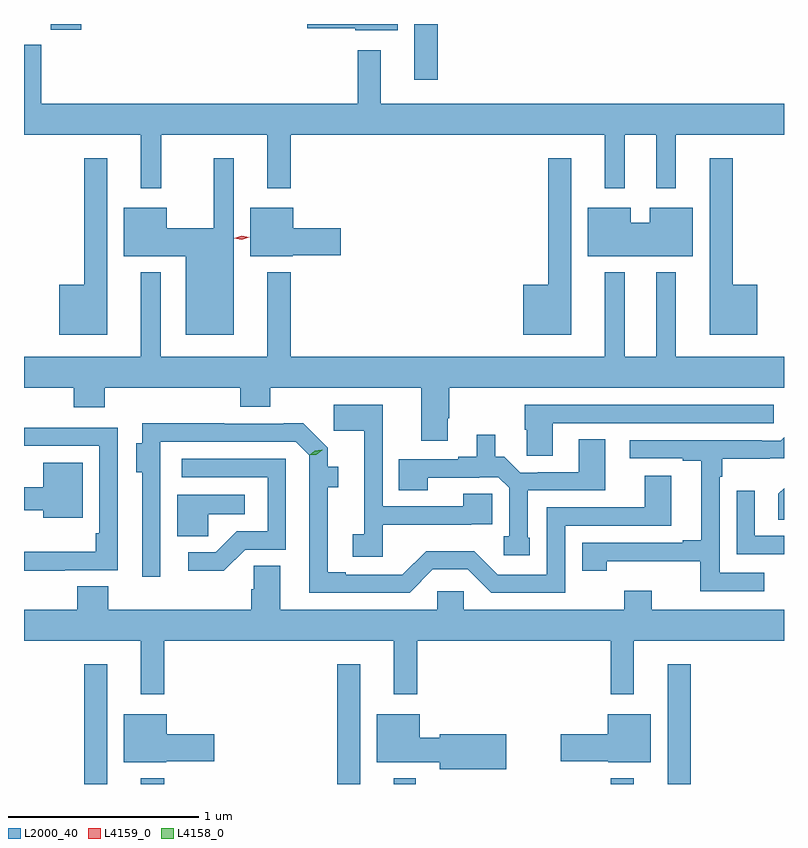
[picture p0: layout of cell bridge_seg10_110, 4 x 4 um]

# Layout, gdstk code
import gdstk
lib = gdstk.Library(unit=1e-6, precision=1e-09)
def R(c, l, rs):  # rectangles x0, y0, x1, y1
    for r in rs: c.add(gdstk.rectangle(r[:2], r[2:], *l))
def P(c, l, *ps):  # polygons
    for p in ps: c.add(gdstk.Polygon(p, *l))
L2000_40 = (2000, 40)
L4158_0 = (4158, 0)
L4159_0 = (4159, 0)

bridge_seg10_110 = lib.new_cell('bridge_seg10_110')
R(bridge_seg10_110, L2000_40, [(445.878,1266.263,445.999,1266.892), (446.177,1266.263,446.299,1266.292), (447.21,1266.263,447.331,1266.892), (447.509,1266.263,447.625,1266.292), (448.65,1266.263,448.771,1266.292), (448.949,1266.263,449.071,1266.892), (447.617,1269.969,447.739,1270.263), (445.702,1270.233,445.862,1270.263)])
P(bridge_seg10_110, L2000_40, [(447.529,1270.263),(447.054,1270.263),(447.054,1270.24),(447.306,1270.24),(447.306,1270.229),(447.529,1270.229)],
  [(446.284,1269.68),(446.843,1269.68),(446.843,1269.399),(446.965,1269.399),(446.965,1269.68),(448.619,1269.68),(448.619,1269.399),(448.723,1269.399),(448.723,1269.68),(448.889,1269.68),(448.889,1269.399),(448.993,1269.399),(448.993,1269.68),(449.562,1269.68),(449.562,1269.844),(447.439,1269.844),(447.439,1270.126),(447.318,1270.126),(447.318,1269.844),(445.654,1269.844),(445.654,1270.153),(445.562,1270.153),(445.562,1269.68),(446.177,1269.68),(446.177,1269.399),(446.284,1269.399)],
  [(449.422,1268.89),(449.293,1268.89),(449.293,1269.556),(449.171,1269.556),(449.171,1268.627),(449.422,1268.627)],
  [(446.665,1269.556),(446.561,1269.556),(446.561,1269.188),(446.314,1269.188),(446.314,1269.295),(446.087,1269.295),(446.087,1269.041),(446.414,1269.041),(446.414,1268.627),(446.665,1268.627)],
  [(445.999,1269.556),(445.878,1269.556),(445.878,1268.89),(445.748,1268.89),(445.748,1268.627),(445.999,1268.627)],
  [(448.441,1269.556),(448.32,1269.556),(448.32,1268.89),(448.19,1268.89),(448.19,1268.627),(448.441,1268.627)],
  [(446.976,1269.047),(447.229,1269.047),(447.229,1269.189),(446.98,1269.189),(446.98,1269.295),(446.753,1269.295),(446.753,1269.041),(446.976,1269.041)],
  [(449.083,1269.295),(448.856,1269.295),(448.856,1269.217),(448.756,1269.217),(448.756,1269.295),(448.529,1269.295),(448.529,1269.041),(449.083,1269.041)],
  [(447.793,1268.188),(447.801,1268.188),(447.801,1268.348),(449.562,1268.348),(449.562,1268.512),(448.993,1268.512),(448.993,1268.956),(448.889,1268.956),(448.889,1268.512),(448.723,1268.512),(448.723,1268.956),(448.619,1268.956),(448.619,1268.512),(446.965,1268.512),(446.965,1268.956),(446.843,1268.956),(446.843,1268.512),(446.281,1268.512),(446.281,1268.956),(446.177,1268.956),(446.177,1268.512),(445.562,1268.512),(445.562,1268.348),(445.823,1268.348),(445.823,1268.246),(445.988,1268.246),(445.988,1268.348),(446.699,1268.348),(446.699,1268.249),(446.859,1268.249),(446.859,1268.348),(447.653,1268.348),(447.653,1268.07),(447.793,1268.07)],
  [(447.45,1267.628),(447.917,1267.628),(447.917,1267.629),(448.027,1267.629),(448.027,1267.79),(447.874,1267.79),(447.874,1267.725),(447.45,1267.725),(447.45,1268.26),(447.192,1268.26),(447.192,1268.121),(447.353,1268.121),(447.353,1267.578),(447.291,1267.578),(447.291,1267.458),(447.45,1267.458)],
  [(448.345,1268.163),(449.509,1268.163),(449.509,1268.259),(448.198,1268.259),(448.198,1268.127),(448.207,1268.127),(448.207,1267.99),(448.345,1267.99)],
  [(447.714,1267.392),(447.897,1267.392),(448.02,1267.269),(448.41,1267.269),(448.41,1267.623),(448.969,1267.623),(448.969,1267.885),(448.829,1267.885),(448.829,1267.719),(448.314,1267.719),(448.314,1267.365),(448.056,1267.365),(447.932,1267.489),(447.678,1267.489),(447.554,1267.365),(447.256,1267.365),(447.256,1267.378),(447.16,1267.378),(447.16,1267.824),(447.217,1267.824),(447.217,1267.934),(447.161,1267.934),(447.161,1268.032),(447.031,1268.162),(446.93,1268.162),(446.93,1268.16),(446.615,1268.16),(446.615,1268.162),(446.184,1268.162),(446.184,1268.056),(446.153,1268.056),(446.153,1267.904),(446.184,1267.904),(446.184,1267.353),(446.28,1267.353),(446.28,1268.064),(446.991,1268.064),(447.063,1267.992),(447.063,1267.269),(447.591,1267.269)],
  [(445.777,1267.389),(446.055,1267.389),(446.055,1268.139),(445.562,1268.139),(445.562,1268.043),(445.959,1268.043),(445.959,1267.582),(445.939,1267.582),(445.939,1267.486),(445.562,1267.486),(445.562,1267.385),(445.777,1267.385)],
  [(448.225,1267.56),(448.212,1267.56),(448.212,1267.809),(448.621,1267.809),(448.621,1268.078),(448.481,1268.078),(448.481,1267.905),(448.267,1267.905),(448.267,1267.902),(448.173,1267.902),(448.089,1267.986),(448.042,1267.986),(448.042,1268.101),(447.944,1268.101),(447.944,1267.986),(447.848,1267.986),(447.848,1267.971),(447.535,1267.971),(447.535,1267.81),(447.687,1267.81),(447.687,1267.875),(447.959,1267.875),(447.959,1267.878),(448.059,1267.878),(448.116,1267.821),(448.116,1267.566),(448.086,1267.566),(448.086,1267.467),(448.225,1267.467)],
  [(449.458,1267.374),(449.223,1267.374),(449.223,1267.88),(449.236,1267.88),(449.236,1267.974),(449.486,1267.974),(449.486,1267.977),(449.562,1267.977),(449.562,1268.088),(449.544,1268.07),(449.444,1268.07),(449.444,1268.073),(448.749,1268.073),(448.749,1267.977),(449.03,1267.977),(449.03,1267.965),(449.126,1267.965),(449.126,1267.546),(449.03,1267.546),(449.03,1267.533),(448.5,1267.533),(448.5,1267.386),(448.628,1267.386),(448.628,1267.436),(449.122,1267.436),(449.122,1267.278),(449.458,1267.278)],
  [(446.727,1267.497),(446.94,1267.497),(446.94,1267.974),(446.391,1267.974),(446.391,1267.878),(446.844,1267.878),(446.844,1267.593),(446.682,1267.593),(446.571,1267.482),(446.427,1267.482),(446.427,1267.385),(446.614,1267.385)],
  [(445.87,1267.954),(445.664,1267.954),(445.664,1267.825),(445.562,1267.825),(445.562,1267.703),(445.664,1267.703),(445.664,1267.664),(445.87,1267.664)],
  [(449.562,1267.82),(449.532,1267.79),(449.532,1267.654),(449.562,1267.654)],
  [(449.562,1267.569),(449.409,1267.569),(449.409,1267.807),(449.313,1267.807),(449.313,1267.473),(449.562,1267.473)],
  [(446.533,1267.682),(446.725,1267.682),(446.725,1267.786),(446.369,1267.786),(446.369,1267.568),(446.533,1267.568)],
  [(446.299,1267.016),(447.509,1267.016),(447.509,1266.735),(447.631,1266.735),(447.631,1267.016),(448.65,1267.016),(448.65,1266.735),(448.771,1266.735),(448.771,1267.016),(449.562,1267.016),(449.562,1267.18),(448.867,1267.18),(448.867,1267.279),(448.72,1267.279),(448.72,1267.18),(447.876,1267.18),(447.876,1267.278),(447.738,1267.278),(447.738,1267.18),(446.911,1267.18),(446.911,1267.412),(446.772,1267.412),(446.772,1267.289),(446.759,1267.289),(446.759,1267.18),(446.006,1267.18),(446.006,1267.304),(445.841,1267.304),(445.841,1267.18),(445.562,1267.18),(445.562,1267.016),(446.177,1267.016),(446.177,1266.735),(446.299,1266.735)],
  [(446.31,1266.383),(446.563,1266.383),(446.563,1266.525),(446.314,1266.525),(446.314,1266.631),(446.087,1266.631),(446.087,1266.377),(446.31,1266.377)],
  [(448.861,1266.631),(448.634,1266.631),(448.634,1266.525),(448.386,1266.525),(448.386,1266.383),(448.638,1266.383),(448.638,1266.377),(448.861,1266.377)],
  [(448.099,1266.524),(447.75,1266.524),(447.75,1266.506),(447.646,1266.506),(447.646,1266.631),(447.419,1266.631),(447.419,1266.377),(447.75,1266.377),(447.75,1266.341),(448.099,1266.341)])
P(bridge_seg10_110, L4158_0, [(447.064,1267.992),(447.064,1267.992),(447.064,1267.992),(447.093,1268.016),(447.13,1268.021),(447.131,1268.021),(447.131,1268.02),(447.101,1267.997)])
P(bridge_seg10_110, L4159_0, [(446.709,1269.128),(446.668,1269.136),(446.668,1269.136),(446.668,1269.136),(446.708,1269.148),(446.748,1269.141),(446.748,1269.141),(446.748,1269.141)])

lib.write_gds('bridge_seg10_110.gds')
